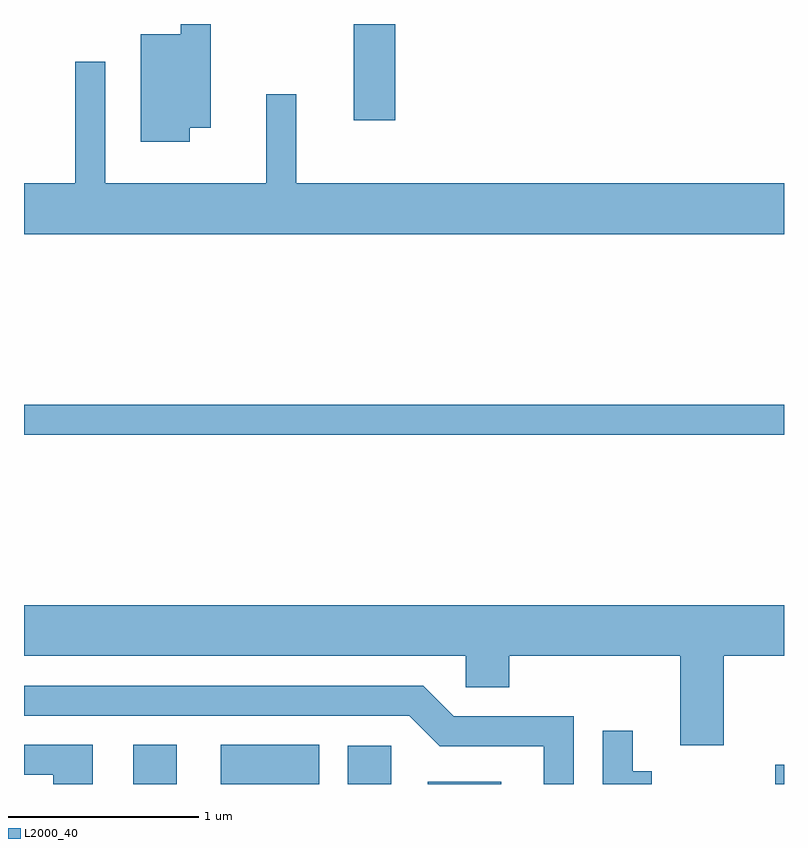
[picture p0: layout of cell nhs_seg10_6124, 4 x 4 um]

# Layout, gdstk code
import gdstk
lib = gdstk.Library(unit=1e-6, precision=1e-09)
def R(c, l, rs):  # rectangles x0, y0, x1, y1
    for r in rs: c.add(gdstk.rectangle(r[:2], r[2:], *l))
def P(c, l, *ps):  # polygons
    for p in ps: c.add(gdstk.Polygon(p, *l))
L2000_40 = (2000, 40)

nhs_seg10_6124 = lib.new_cell('nhs_seg10_6124')
R(nhs_seg10_6124, L2000_40, [(366.186,2166.522,366.414,2166.729), (366.646,2166.522,367.164,2166.729), (367.316,2166.522,367.544,2166.724), (367.736,2166.522,368.124,2166.534), (369.566,2166.522,369.611,2166.624), (365.611,2168.361,369.611,2168.519), (367.346,2170.016,367.564,2170.522)])
P(nhs_seg10_6124, L2000_40, [(366.484,2169.976),(366.594,2169.976),(366.594,2170.522),(366.436,2170.522),(366.436,2170.469),(366.226,2170.469),(366.226,2169.901),(366.484,2169.901)],
  [(369.611,2169.684),(367.044,2169.684),(367.044,2170.153),(366.886,2170.153),(366.886,2169.684),(366.039,2169.684),(366.039,2170.323),(365.881,2170.323),(365.881,2169.684),(365.611,2169.684),(365.611,2169.416),(369.611,2169.416)],
  [(369.294,2167.196),(369.611,2167.196),(369.611,2167.464),(365.611,2167.464),(365.611,2167.196),(367.936,2167.196),(367.936,2167.031),(368.164,2167.031),(368.164,2167.196),(369.066,2167.196),(369.066,2166.726),(369.294,2166.726)],
  [(368.504,2166.879),(367.872,2166.879),(367.712,2167.039),(365.611,2167.039),(365.611,2166.881),(367.639,2166.881),(367.799,2166.721),(368.346,2166.721),(368.346,2166.522),(368.504,2166.522)],
  [(368.914,2166.589),(368.814,2166.589),(368.814,2166.803),(368.656,2166.803),(368.656,2166.522),(368.914,2166.522)],
  [(365.974,2166.729),(365.611,2166.729),(365.611,2166.571),(365.766,2166.571),(365.766,2166.522),(365.974,2166.522)])

lib.write_gds('nhs_seg10_6124.gds')
